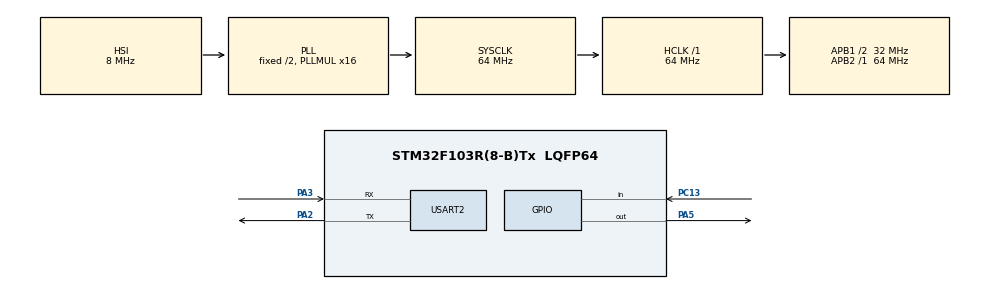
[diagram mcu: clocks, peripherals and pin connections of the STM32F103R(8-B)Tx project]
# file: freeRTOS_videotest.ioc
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FREERTOS.Mutexes01=uartMutex,Dynamic,NULL
FREERTOS.Tasks01=defaultTask,24,128,Thread1,Default,NULL,Dynamic,NULL,NULL;myTask02,8,128,Thread2,Default,NULL,Dynamic,NULL,NULL
Mcu.Family=STM32F1
Mcu.Name=STM32F103R(8-B)Tx
Mcu.Package=LQFP64
NVIC.PriorityGroup=NVIC_PRIORITYGROUP_4
NVIC.TIM3_IRQn=true\:0\:0\:false\:false\:true\:false\:false\:true
NVIC.TimeBase=TIM3_IRQn
NVIC.TimeBaseIP=TIM3
PA2.Mode=Asynchronous
PA2.Signal=USART2_TX
PA3.Mode=Asynchronous
PA3.Signal=USART2_RX
PA5.Signal=GPIO_Output
PC13-TAMPER-RTC.Signal=GPIO_Input
ProjectManager.HeapSize=0x200
ProjectManager.StackSize=0x400
ProjectManager.TargetToolchain=MDK-ARM V5.27
RCC.AHBFreq_Value=64000000
RCC.APB1CLKDivider=RCC_HCLK_DIV2
RCC.APB1Freq_Value=32000000
RCC.APB1TimFreq_Value=64000000
RCC.APB2Freq_Value=64000000
RCC.APB2TimFreq_Value=64000000
RCC.HCLKFreq_Value=64000000
RCC.PLLMUL=RCC_PLL_MUL16
RCC.RTCClockSelection=RCC_RTCCLKSOURCE_LSE
RCC.SYSCLKFreq_VALUE=64000000
RCC.SYSCLKSource=RCC_SYSCLKSOURCE_PLLCLK
RCC.USBFreq_Value=64000000
USART2.VirtualMode=VM_ASYNC
VP_FREERTOS_VS_CMSIS_V2.Mode=CMSIS_V2
VP_SYS_VS_ND.Mode=No_Debug
VP_SYS_VS_tim3.Mode=TIM3
board=NUCLEO-F103RB

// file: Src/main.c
/* USER CODE BEGIN Header */
/**
  ******************************************************************************
  * @file           : main.c
  * @brief          : Main program body
  ******************************************************************************
  * @attention
  *
  * <h2><center>&copy; Copyright (c) 2020 STMicroelectronics.
  * All rights reserved.</center></h2>
  *
  * This software component is licensed by ST under Ultimate Liberty license
  * SLA0044, the "License"; You may not use this file except in compliance with
  * the License. You may obtain a copy of the License at:
  *                             www.st.com/SLA0044
  *
  ******************************************************************************
  */
/* USER CODE END Header */

#include "main.h"
#include "cmsis_os.h"

UART_HandleTypeDef huart2;

/* Definitions for defaultTask */
osThreadId_t defaultTaskHandle;
const osThreadAttr_t defaultTask_attributes = {
  .name = "defaultTask",
  .priority = (osPriority_t) osPriorityNormal,
  .stack_size = 128
};
/* Definitions for myTask02 */
osThreadId_t myTask02Handle;
const osThreadAttr_t myTask02_attributes = {
  .name = "myTask02",
  .priority = (osPriority_t) osPriorityLow,
  .stack_size = 128
};
/* Definitions for myTask03 */
osThreadId_t myTask03Handle;
const osThreadAttr_t myTask03_attributes = {
  .name = "myTask03",
  .priority = (osPriority_t) osPriorityLow,
  .stack_size = 128
};
/* Definitions for uartMutex */
osMutexId_t uartMutexHandle;
const osMutexAttr_t uartMutex_attributes = {
  .name = "uartMutex"
};

void SystemClock_Config(void);
static void MX_GPIO_Init(void);
static void MX_USART2_UART_Init(void);
void Thread1(void *argument);
void Thread2(void *argument);
void Thread3(void *argument);

int main(void)
{

  /* MCU Configuration--------------------------------------------------------*/

  /* Reset of all peripherals, Initializes the Flash interface and the Systick. */
  HAL_Init();

  /* Configure the system clock */
  SystemClock_Config();

  /* Initialize all configured peripherals */
  MX_GPIO_Init();
  MX_USART2_UART_Init();
  /* Init scheduler */
  osKernelInitialize();
  /* Create the mutex(es) */
  /* creation of uartMutex */
  uartMutexHandle = osMutexNew(&uartMutex_attributes);

  /* Create the thread(s) */
  /* creation of defaultTask */
  defaultTaskHandle = osThreadNew(Thread1, NULL, &defaultTask_attributes);

  /* creation of myTask02 */
  myTask02Handle = osThreadNew(Thread2, NULL, &myTask02_attributes);

  /* USER CODE BEGIN RTOS_THREADS */
	myTask03Handle = osThreadNew(Thread3, NULL, &myTask03_attributes);
	/* USER CODE END RTOS_THREADS */

  /* Start scheduler */
  osKernelStart();

  /* We should never get here as control is now taken by the scheduler */

  /* Infinite loop */
  while (1)
  {

  }
}

void SystemClock_Config(void)
{
  RCC_OscInitTypeDef RCC_OscInitStruct = {0};
  RCC_ClkInitTypeDef RCC_ClkInitStruct = {0};

  /** Initializes the CPU, AHB and APB busses clocks
  */
  RCC_OscInitStruct.OscillatorType = RCC_OSCILLATORTYPE_HSI;
  RCC_OscInitStruct.HSIState = RCC_HSI_ON;
  RCC_OscInitStruct.HSICalibrationValue = RCC_HSICALIBRATION_DEFAULT;
  RCC_OscInitStruct.PLL.PLLState = RCC_PLL_ON;
  RCC_OscInitStruct.PLL.PLLSource = RCC_PLLSOURCE_HSI_DIV2;
  RCC_OscInitStruct.PLL.PLLMUL = RCC_PLL_MUL16;
  if (HAL_RCC_OscConfig(&RCC_OscInitStruct) != HAL_OK)
  {
    Error_Handler();
  }
  /** Initializes the CPU, AHB and APB busses clocks
  */
  RCC_ClkInitStruct.ClockType = RCC_CLOCKTYPE_HCLK|RCC_CLOCKTYPE_SYSCLK
                              |RCC_CLOCKTYPE_PCLK1|RCC_CLOCKTYPE_PCLK2;
  RCC_ClkInitStruct.SYSCLKSource = RCC_SYSCLKSOURCE_PLLCLK;
  RCC_ClkInitStruct.AHBCLKDivider = RCC_SYSCLK_DIV1;
  RCC_ClkInitStruct.APB1CLKDivider = RCC_HCLK_DIV2;
  RCC_ClkInitStruct.APB2CLKDivider = RCC_HCLK_DIV1;

  if (HAL_RCC_ClockConfig(&RCC_ClkInitStruct, FLASH_LATENCY_2) != HAL_OK)
  {
    Error_Handler();
  }
}

static void MX_USART2_UART_Init(void)
{

  huart2.Instance = USART2;
  huart2.Init.BaudRate = 115200;
  huart2.Init.WordLength = UART_WORDLENGTH_8B;
  huart2.Init.StopBits = UART_STOPBITS_1;
  huart2.Init.Parity = UART_PARITY_NONE;
  huart2.Init.Mode = UART_MODE_TX_RX;
  huart2.Init.HwFlowCtl = UART_HWCONTROL_NONE;
  huart2.Init.OverSampling = UART_OVERSAMPLING_16;
  if (HAL_UART_Init(&huart2) != HAL_OK)
  {
    Error_Handler();
  }

}

static void MX_GPIO_Init(void)
{
  GPIO_InitTypeDef GPIO_InitStruct = {0};

  /* GPIO Ports Clock Enable */
  __HAL_RCC_GPIOC_CLK_ENABLE();
  __HAL_RCC_GPIOA_CLK_ENABLE();

  /*Configure GPIO pin Output Level */
  HAL_GPIO_WritePin(GPIOA, GPIO_PIN_5, GPIO_PIN_RESET);

  /*Configure GPIO pin : PC13 */
  GPIO_InitStruct.Pin = GPIO_PIN_13;
  GPIO_InitStruct.Mode = GPIO_MODE_INPUT;
  GPIO_InitStruct.Pull = GPIO_NOPULL;
  HAL_GPIO_Init(GPIOC, &GPIO_InitStruct);

  /*Configure GPIO pin : PA5 */
  GPIO_InitStruct.Pin = GPIO_PIN_5;
  GPIO_InitStruct.Mode = GPIO_MODE_OUTPUT_PP;
  GPIO_InitStruct.Pull = GPIO_NOPULL;
  GPIO_InitStruct.Speed = GPIO_SPEED_FREQ_LOW;
  HAL_GPIO_Init(GPIOA, &GPIO_InitStruct);

}

void Thread1(void *argument)
{
  /* USER CODE BEGIN 5 */

	uint8_t txData[24] = "Hello from Thread1\r\n";
	/* Infinite loop */
  for(;;)
  {
		HAL_GPIO_TogglePin(GPIOA, GPIO_PIN_5);
		osSemaphoreAcquire(uartMutexHandle, portMAX_DELAY);
		HAL_UART_Transmit(&huart2, txData, 24, 5);
		osSemaphoreRelease(uartMutexHandle);
    osDelay(2000);
  }
  /* USER CODE END 5 */
}

void Thread2(void *argument)
{
  /* USER CODE BEGIN Thread2 */
	uint8_t txData[24] = "Thread2 takin' over\r\n";
	/* Infinite loop */
  for(;;)
  {
		if(HAL_GPIO_ReadPin(GPIOC, GPIO_PIN_13) == GPIO_PIN_RESET)
		{
			osThreadFlagsSet(myTask03Handle, 0x01);
			osSemaphoreAcquire(uartMutexHandle, portMAX_DELAY);
			HAL_UART_Transmit(&huart2, txData, 24, 5);
			osSemaphoreRelease(uartMutexHandle);
		}
    osDelay(1000);
  }
  /* USER CODE END Thread2 */
}

void Thread3(void *argument)
{
  /* USER CODE BEGIN Thread3 */
	uint8_t txData[24] = "Thread3 cruisin' in\r\n";
	for(;;)
	{
		osThreadFlagsWait(0x01, osFlagsWaitAny, portMAX_DELAY);
		osSemaphoreAcquire(uartMutexHandle, portMAX_DELAY);
		HAL_UART_Transmit(&huart2, txData, 24, 5);
		osSemaphoreRelease(uartMutexHandle);
  }
		/* USER CODE END Thread3 */
}

void HAL_TIM_PeriodElapsedCallback(TIM_HandleTypeDef *htim)
{
  if (htim->Instance == TIM3) {
    HAL_IncTick();
  }
}

void Error_Handler(void)
{
}

/************************ (C) COPYRIGHT STMicroelectronics *****END OF FILE****/
